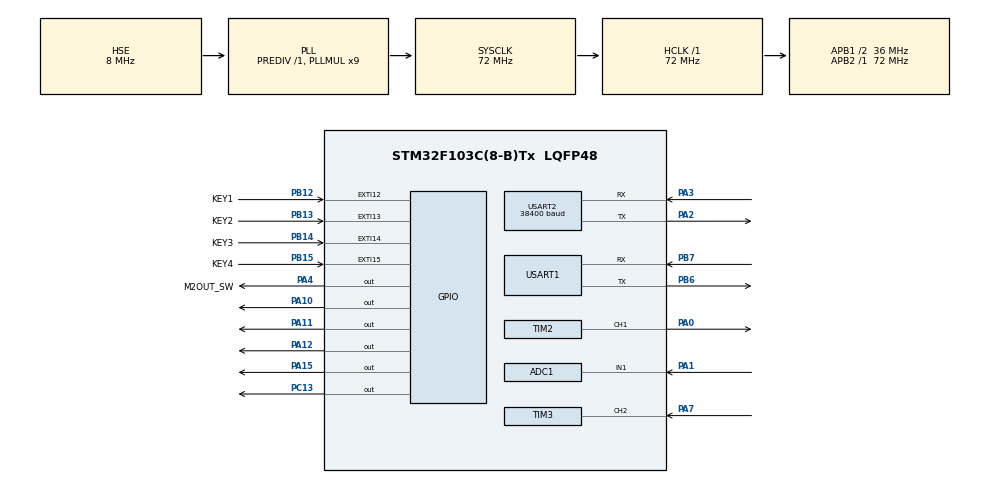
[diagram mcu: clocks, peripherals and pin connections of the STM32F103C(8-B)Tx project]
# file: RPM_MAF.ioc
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ADC1.Channel-0\#ChannelRegularConversion=ADC_CHANNEL_1
ADC1.NbrOfConversionFlag=1
ADC1.Rank-0\#ChannelRegularConversion=1
ADC1.SamplingTime-0\#ChannelRegularConversion=ADC_SAMPLETIME_1CYCLE_5
ADC1.master=1
Dma.Request0=USART2_RX
Dma.Request1=USART2_TX
Dma.USART2_RX.0.Direction=DMA_PERIPH_TO_MEMORY
Dma.USART2_RX.0.Instance=DMA1_Channel6
Dma.USART2_RX.0.MemDataAlignment=DMA_MDATAALIGN_BYTE
Dma.USART2_RX.0.MemInc=DMA_MINC_ENABLE
Dma.USART2_RX.0.Mode=DMA_CIRCULAR
Dma.USART2_RX.0.PeriphDataAlignment=DMA_PDATAALIGN_BYTE
Dma.USART2_RX.0.PeriphInc=DMA_PINC_DISABLE
Dma.USART2_RX.0.Priority=DMA_PRIORITY_LOW
Dma.USART2_TX.1.Direction=DMA_MEMORY_TO_PERIPH
Dma.USART2_TX.1.Instance=DMA1_Channel7
Dma.USART2_TX.1.MemDataAlignment=DMA_MDATAALIGN_BYTE
Dma.USART2_TX.1.MemInc=DMA_MINC_ENABLE
Dma.USART2_TX.1.Mode=DMA_NORMAL
Dma.USART2_TX.1.PeriphDataAlignment=DMA_PDATAALIGN_BYTE
Dma.USART2_TX.1.PeriphInc=DMA_PINC_DISABLE
Dma.USART2_TX.1.Priority=DMA_PRIORITY_LOW
Mcu.Family=STM32F1
Mcu.Name=STM32F103C(8-B)Tx
Mcu.Package=LQFP48
NVIC.DMA1_Channel6_IRQn=true\:0\:0\:false\:false\:true\:false\:true
NVIC.DMA1_Channel7_IRQn=true\:0\:0\:false\:false\:true\:false\:true
NVIC.EXTI15_10_IRQn=true\:0\:0\:false\:false\:true\:true\:true
NVIC.PriorityGroup=NVIC_PRIORITYGROUP_4
NVIC.TIM3_IRQn=true\:0\:0\:false\:false\:true\:true\:true
NVIC.USART2_IRQn=true\:0\:0\:false\:false\:true\:true\:true
PA0-WKUP.Signal=S_TIM2_CH1_ETR
PA1.Signal=ADCx_IN1
PA10.Signal=GPIO_Output
PA11.Signal=GPIO_Output
PA12.Signal=GPIO_Output
PA13.Mode=Serial_Wire
PA13.Signal=SYS_JTMS-SWDIO
PA14.Mode=Serial_Wire
PA14.Signal=SYS_JTCK-SWCLK
PA15.Signal=GPIO_Output
PA2.Mode=Asynchronous
PA2.Signal=USART2_TX
PA3.Mode=Asynchronous
PA3.Signal=USART2_RX
PA4.GPIO_Label=M2OUT_SW
PA4.Signal=GPIO_Output
PA7.GPIO_PuPd=GPIO_NOPULL
PA7.Signal=S_TIM3_CH2
PB12.GPIO_Label=KEY1
PB12.GPIO_ModeDefaultEXTI=GPIO_MODE_IT_FALLING
PB12.GPIO_PuPd=GPIO_PULLUP
PB12.Signal=GPXTI12
PB13.GPIO_Label=KEY2
PB13.GPIO_ModeDefaultEXTI=GPIO_MODE_IT_FALLING
PB13.GPIO_PuPd=GPIO_PULLUP
PB13.Signal=GPXTI13
PB14.GPIO_Label=KEY3
PB14.GPIO_ModeDefaultEXTI=GPIO_MODE_IT_FALLING
PB14.GPIO_PuPd=GPIO_PULLUP
PB14.Signal=GPXTI14
PB15.GPIO_Label=KEY4
PB15.Signal=GPXTI15
PB6.Mode=Asynchronous
PB6.Signal=USART1_TX
PB7.Mode=Asynchronous
PB7.Signal=USART1_RX
PC13-TAMPER-RTC.Signal=GPIO_Output
PD0-OSC_IN.Mode=HSE-External-Oscillator
PD0-OSC_IN.Signal=RCC_OSC_IN
PD1-OSC_OUT.Mode=HSE-External-Oscillator
PD1-OSC_OUT.Signal=RCC_OSC_OUT
ProjectManager.HeapSize=0x200
ProjectManager.StackSize=0x400
ProjectManager.TargetToolchain=MDK-ARM V5
RCC.ADCPresc=RCC_ADCPCLK2_DIV6
RCC.AHBFreq_Value=72000000
RCC.APB1CLKDivider=RCC_HCLK_DIV2
RCC.APB1Freq_Value=36000000
RCC.APB1TimFreq_Value=72000000
RCC.APB2Freq_Value=72000000
RCC.APB2TimFreq_Value=72000000
RCC.HCLKFreq_Value=72000000
RCC.PLLMUL=RCC_PLL_MUL9
RCC.PLLSourceVirtual=RCC_PLLSOURCE_HSE
RCC.SYSCLKFreq_VALUE=72000000
RCC.SYSCLKSource=RCC_SYSCLKSOURCE_PLLCLK
RCC.USBFreq_Value=72000000
SH.ADCx_IN1.0=ADC1_IN1,IN1
SH.S_TIM2_CH1_ETR.0=TIM2_CH1,PWM Generation1 CH1
SH.S_TIM3_CH2.0=TIM3_CH2,PWM_Input_2
TIM2.Channel-PWM\ Generation1\ CH1=TIM_CHANNEL_1
TIM2.ClockDivision=TIM_CLOCKDIVISION_DIV2
TIM2.Period=1000-1
TIM2.Prescaler=72-1
TIM3.ClockDivision=TIM_CLOCKDIVISION_DIV4
TIM3.Period=65535
TIM3.Prescaler=3600-1
TIM3.TIM_MasterOutputTrigger=TIM_TRGO_UPDATE
USART1.VirtualMode=VM_ASYNC
USART2.BaudRate=38400
USART2.VirtualMode=VM_ASYNC
VP_TIM2_VS_ClockSourceINT.Mode=Internal
VP_TIM3_VS_ClockSourceINT.Mode=Internal
board=custom

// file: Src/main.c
/* USER CODE BEGIN Header */
/**
  ******************************************************************************
  * @file           : main.c
  * @brief          : Main program body
  ******************************************************************************
  ** This notice applies to any and all portions of this file
  * that are not between comment pairs USER CODE BEGIN and
  * USER CODE END. Other portions of this file, whether
  * inserted by the user or by software development tools
  * are owned by their respective copyright owners.
  *
  * COPYRIGHT(c) 2019 STMicroelectronics
  *
  * Redistribution and use in source and binary forms, with or without modification,
  * are permitted provided that the following conditions are met:
  *   1. Redistributions of source code must retain the above copyright notice,
  *      this list of conditions and the following disclaimer.
  *   2. Redistributions in binary form must reproduce the above copyright notice,
  *      this list of conditions and the following disclaimer in the documentation
  *      and/or other materials provided with the distribution.
  *   3. Neither the name of STMicroelectronics nor the names of its contributors
  *      may be used to endorse or promote products derived from this software
  *      without specific prior written permission.
  *
  * THIS SOFTWARE IS PROVIDED BY THE COPYRIGHT HOLDERS AND CONTRIBUTORS "AS IS"
  * AND ANY EXPRESS OR IMPLIED WARRANTIES, INCLUDING, BUT NOT LIMITED TO, THE
  * IMPLIED WARRANTIES OF MERCHANTABILITY AND FITNESS FOR A PARTICULAR PURPOSE ARE
  * DISCLAIMED. IN NO EVENT SHALL THE COPYRIGHT HOLDER OR CONTRIBUTORS BE LIABLE
  * FOR ANY DIRECT, INDIRECT, INCIDENTAL, SPECIAL, EXEMPLARY, OR CONSEQUENTIAL
  * DAMAGES (INCLUDING, BUT NOT LIMITED TO, PROCUREMENT OF SUBSTITUTE GOODS OR
  * SERVICES; LOSS OF USE, DATA, OR PROFITS; OR BUSINESS INTERRUPTION) HOWEVER
  * CAUSED AND ON ANY THEORY OF LIABILITY, WHETHER IN CONTRACT, STRICT LIABILITY,
  * OR TORT (INCLUDING NEGLIGENCE OR OTHERWISE) ARISING IN ANY WAY OUT OF THE USE
  * OF THIS SOFTWARE, EVEN IF ADVISED OF THE POSSIBILITY OF SUCH DAMAGE.
  *
  ******************************************************************************
  */
/* USER CODE END Header */

#include "main.h"

/* USER CODE BEGIN Includes */

#define USE_OLED

#include <stdio.h>

#ifdef USE_OLED
#include "oled.h"
#endif

/* USER CODE END Includes */

/* USER CODE BEGIN PD */

extern uint8_t nonside[];

/* USER CODE END PD */

/* USER CODE BEGIN PM */

#if 0
#define ON_STAR_RPM 1200
#define ON_STAR_DUTY 500

#define LINEAR_STAR_RPM 1600
#define LINEAR_END_RPM 2500

#define LINEAR_STAT_DUTY 750
#define LINEAR_END_DUTY 1000
#endif

#if 0
#define ON_STAR_RPM 1200
#define ON_STAR_DUTY 100

#define LINEAR_STAR_RPM 2000
#define LINEAR_END_RPM 3000

#define LINEAR_STAT_DUTY 200
#define LINEAR_END_DUTY 1000
#endif

#if 1
// 20190512, 传感器rpm
// 启动（线性开始）1200，40%； 关1000，40%； 最高2500，100%

#define ON_STAR_RPM 1000
#define ON_STAR_DUTY 400

#define LINEAR_STAR_RPM 1200
#define LINEAR_END_RPM 2500

#define LINEAR_STAT_DUTY 400
#define LINEAR_END_DUTY 1000
#endif

//#define M2SW_ON_MAF  10
//#define M2SW_OFF_MAF 5

// 20190512， MAF 5-->8, 10-->12
//#define ON_STAR_MAF 5
#define ON_STAR_MAF 8
#define ON_STAR_MAF_DUTY 500

//#define LINEAR_STAR_MAF 10
#define LINEAR_STAR_MAF 12
#define LINEAR_END_MAF  25

#define LINEAR_STAT_MAF_DUTY 400
#define LINEAR_END_MAF_DUTY 1000

#define SYSTEM_ON_TEMP 80

/* USER CODE END PM */

ADC_HandleTypeDef hadc1;

TIM_HandleTypeDef htim2;
TIM_HandleTypeDef htim3;

UART_HandleTypeDef huart1;
UART_HandleTypeDef huart2;
DMA_HandleTypeDef hdma_usart2_rx;
DMA_HandleTypeDef hdma_usart2_tx;

/* USER CODE BEGIN PV */

uint32_t ddd;
uint32_t dd;
uint32_t d;
uint32_t rpm;
uint32_t rpm_old;

uint32_t sensor_rpm = 0;
uint32_t adc_rpm = 0;
uint32_t obd_rpm = 0;

uint32_t prescaler;
uint32_t period;
uint32_t pulse;
uint32_t clk_prescaler;

/*
double prescaler;
double period;
double pulse;
double clk_prescaler;
*/

uint32_t d1;
uint32_t d2;
uint32_t d3;

uint32_t enc_d;
uint16_t adc_d;
uint16_t m1_out_pwm_d;
uint8_t  m2_sw = 0;

//uint8_t ddd_ch[] = "123";
//uint8_t ss[20] = "123";
char ss[20] = "123";

/* USER CODE END PV */

void SystemClock_Config(void);
static void MX_GPIO_Init(void);
static void MX_DMA_Init(void);
static void MX_USART1_UART_Init(void);
static void MX_ADC1_Init(void);
static void MX_TIM2_Init(void);
static void MX_TIM3_Init(void);
static void MX_USART2_UART_Init(void);

/* USER CODE BEGIN 0 */

//----------------------------------------------------------------------------
// printf to uart
#ifdef __GNUC__
/* With GCC/RAISONANCE, small printf (option LD Linker->Libraries->Small printf
   set to 'Yes') calls __io_putchar() */
#define PUTCHAR_PROTOTYPE int __io_putchar(int ch)
#else
#define PUTCHAR_PROTOTYPE int fputc(int ch, FILE *f)
#endif /* __GNUC__ */

PUTCHAR_PROTOTYPE
{
  /* Place your implementation of fputc here */
  /* e.g. write a character to the USART1 and Loop until the end of transmission */
  HAL_UART_Transmit(&huart1, (uint8_t *)&ch, 1, 0xFFFF);
  return ch;
}
//------------------------------------------------------------------------------

#define H_OBD_UART huart2
//#define H_OBD_UART huart3

// for uart3, elm327
uint8_t aRx3Buffer[1];      //接收缓存
uint8_t aTx3Buffer[] = "*********SENDING DATA USING USART3 with DMA***********\r\n";

uint8_t cmd_atz[]  = "AT Z\r"; // reset
uint8_t cmd_ati[]  = "AT I\r";
uint8_t cmd_010c[] = "010C\r"; // rpm
uint8_t cmd_010d[] = "010D\r"; // speed
uint8_t cmd_0105[] = "0105\r"; // Engine coolant temperature
uint8_t cmd_0110[] = "0110\r"; // MAF
uint8_t cmd_atsp0[]  = "AT SP 0\r"; //
uint8_t cmd_015C[] = "015C\r"; // Engine oil temperature

uint16_t m_rpm = 0;
uint16_t m_maf = 0;
uint8_t m_speed = 0;  // 0 - 255 km/h
uint8_t m_EngineOilTemperature = 0;  // Engine oil temperature
uint8_t m_EngineCoolantTemperature = 0;

uint8_t state = 0;
uint8_t vout_state = 0;
uint8_t sw_state = 0;

void delay_ms(uint16_t ms)
{
	/*
	uint16_t i,j;

	for(i=0; i<ms; i++) //2000
	{
		for(j=0;j<1650; j++)
		{

		}
	}
	*/
	HAL_Delay(ms);
}

uint8_t key_d;

void HAL_GPIO_EXTI_Callback(uint16_t GPIO_Pin)
{
	if(GPIO_Pin == KEY1_Pin)
	{
		key_d = 1;
	}
	if(GPIO_Pin == KEY2_Pin)
	{
		key_d = 2;
	}
	if(GPIO_Pin == KEY3_Pin)
	{
		key_d = 3;
	}
	if(GPIO_Pin == KEY4_Pin)
	{
		key_d = 4;
	}
}

uint32_t duty = 0;
uint32_t freq = 0;

//volatile static uint32_t tmp1 = 0, tmp2 = 0;
uint32_t tmp1 = 0, tmp2 = 0;

void HAL_TIM_IC_CaptureCallback(TIM_HandleTypeDef *htim)
{
    //volatile static uint32_t tmp1 = 0, tmp2 = 0;

    if (htim->Channel == HAL_TIM_ACTIVE_CHANNEL_1)
    {
        tmp1 = HAL_TIM_ReadCapturedValue(&htim3, TIM_CHANNEL_1);//周期
    }
    else if (htim->Channel == HAL_TIM_ACTIVE_CHANNEL_2)
    {
        tmp2 = HAL_TIM_ReadCapturedValue(&htim3, TIM_CHANNEL_2);//占空比
    }
}

#define UART3_RX_BUFF_LEN 100
//#define UART3_RCV_SIZE 8

uint8_t uart3_rx_buff[UART3_RX_BUFF_LEN];
uint8_t cmd_buff[UART3_RX_BUFF_LEN];

uint8_t uart3_rx_index = 0;
uint8_t cmd_ok = 0;
void HAL_UART_RxCpltCallback(UART_HandleTypeDef *huart)
{
  /* Prevent unused argument(s) compilation warning */
  UNUSED(huart);
  /* NOTE: This function Should not be modified, when the callback is needed,
           the HAL_UART_RxCpltCallback could be implemented in the user file
   */

  //HAL_UART_Transmit_DMA(&huart3,aRx3Buffer,1); // DM2发送出去
	//HAL_UART_Receive_DMA(&huart3,aRx3Buffer,1); // 重新DMA接收

	//HAL_UART_Transmit_DMA(&H_OBD_UART,aRx3Buffer,1); // DM2发送出去
	//HAL_UART_Receive_DMA(&H_OBD_UART,aRx3Buffer,1); // 重新DMA接收

	// test
	//HAL_UART_Transmit(&huart1,aRx3Buffer, 1, 0xFFFF);

	uart3_rx_buff[uart3_rx_index] = aRx3Buffer[0];
	if( uart3_rx_index < UART3_RX_BUFF_LEN-1) uart3_rx_index++;
	else uart3_rx_index = 0;

	if(uart3_rx_buff[uart3_rx_index-1] == 0x0d && uart3_rx_buff[uart3_rx_index-2] == 0x0d && cmd_ok==0)
	{
		cmd_ok = 1;
		uart3_rx_index = 0;
		for(uint8_t i = 0; i<UART3_RX_BUFF_LEN; i++)
		{
			cmd_buff[i] = uart3_rx_buff[i];
			uart3_rx_buff[i] = 0x00;
		}
	}

}

//uint16_t hex2uint16(const char *p)
uint16_t hex2uint16(const uint8_t *p)
{
	char c = *p;
	uint16_t i = 0;
	for (uint8_t n = 0; c && n < 4; c = *(++p)) {
		if (c >= 'A' && c <= 'F') {
			c -= 7;
		} else if (c>='a' && c<='f') {
			c -= 39;
        } else if (c == ' ' && n == 2) {
            continue;
        } else if (c < '0' || c > '9') {
			break;
        }
		i = (i << 4) | (c & 0xF);
		n++;
	}
	return i;
}

//uint8_t hex2uint8(const char *p)
uint8_t hex2uint8(const uint8_t *p)
{
	uint8_t c1 = *p;
	uint8_t c2 = *(p + 1);
	if (c1 >= 'A' && c1 <= 'F')
		c1 -= 7;
	else if (c1 >='a' && c1 <= 'f')
	    c1 -= 39;
	else if (c1 < '0' || c1 > '9')
		return 0;

	if (c2 == 0)
		return (c1 & 0xf);
	else if (c2 >= 'A' && c2 <= 'F')
		c2 -= 7;
	else if (c2 >= 'a' && c2 <= 'f')
	    c2 -= 39;
	else if (c2 < '0' || c2 > '9')
		return 0;

	return c1 << 4 | (c2 & 0xf);
}

/* USER CODE END 0 */

int main(void)
{

  /* MCU Configuration--------------------------------------------------------*/

  /* Reset of all peripherals, Initializes the Flash interface and the Systick. */
  HAL_Init();

  /* USER CODE BEGIN Init */

	// GPIO
	HAL_GPIO_WritePin(M2OUT_SW_GPIO_Port, M2OUT_SW_Pin, GPIO_PIN_RESET);

	  ddd = 0;
		d = 0;
		rpm = 0;
	  rpm_old = 100;

		period = 1000-1;
		pulse = 100;
		prescaler = 60-1;

    d1 = 500;
		d2 = 1000;
		d3 = 3000;

  /* USER CODE END Init */

  /* Configure the system clock */
  SystemClock_Config();

  /* Initialize all configured peripherals */
  MX_GPIO_Init();
  MX_DMA_Init();
  MX_USART1_UART_Init();
  MX_ADC1_Init();
  MX_TIM2_Init();
  MX_TIM3_Init();
  MX_USART2_UART_Init();
  /* USER CODE BEGIN 2 */

  //HAL_Delay(1000); //1000ms

#ifdef USE_OLED
	delay_ms(10);
	LCD_Init();
	delay_ms(10);

	//line 1
	LCD_Print(2, 0, "WM Test",TYPE16X16,TYPE8X16);

	//line 2
	LCD_Print(2, 16, "Version 0.10",TYPE16X16,TYPE8X16);
	//sprintf(ss,"%s",__DATA_);
	//LCD_Print(2, 16, ss, TYPE16X16, TYPE8X16);

	// line 3
	//LCD_Print(2, 32,  "OBD MAF:",TYPE16X16,TYPE8X16);
	sprintf(ss,"%s",__DATE__);
	LCD_Print(2, 32, ss,TYPE16X16,TYPE8X16);

	// line 4
	//LCD_Print(2, 48,  "OBD EOT:",TYPE16X16,TYPE8X16);
	sprintf(ss,"%s",__TIME__);
	LCD_Print(2, 48, ss,TYPE16X16,TYPE8X16);

#endif

	printf("\n\r\n\rWM_RPM V0.1\n\r");
	printf("Build %s %s\n\r", __TIME__, __DATE__);

	uint32_t uid[3];
	HAL_GetUID(uid);

	printf("UID:");
	for(int8_t i = 0; i < 3; i++) {
		printf("%08X", uid[i]);
	}
	printf("\n\r");

/*
500rpm =500r/min = 500/60 Hz, === 8.333 Hz
300rpm = 300 r/min = 300/60 Hz === 5 Hz 4000?
600rpm = 600 r/min = 600/60 Hz === 10 Hz 2000?
1200rpm = 1200 r/min = 1200/60 Hz == 20 Hz   1000
1800rpm = 30 Hz  666.67?
2400rpm = 40 Hz  500?
3000rpm = 50 Hz   400
3600rpm = 60 Hz

(20000/tmp2)*60

*/

  // PWM output

	// m1_out_pwm_d
	// M1 out PWM, control the motor
	// TIM2:  Prescaler：72-1；CKD: Division by 2;  ==> 1kHz
	// Prescaler=720-1;Counter Period 2000-1 == 50Hz, read pwm ==400
	// Prescaler=720-1;Counter Period 5000-1 == 20Hz, read pwm ==1000
	// Prescaler=2880-1 and CounterPeriod=5000-1, read pwm = 4000
	m1_out_pwm_d = 0;

	//__HAL_TIM_SET_COMPARE(&htim2, TIM_CHANNEL_4, m1_out_pwm_d);
	//HAL_TIM_PWM_Start(&htim2,TIM_CHANNEL_4); //M1OUT_PWM

	__HAL_TIM_SET_COMPARE(&htim2, TIM_CHANNEL_1, m1_out_pwm_d);
	HAL_TIM_PWM_Start(&htim2,TIM_CHANNEL_1); //M1OUT_PWM

	// PWM output, use TIM3 for PWM sim.
	//HAL_TIM_PWM_Start(&htim3,TIM_CHANNEL_1);
	//HAL_TIM_PWM_Stop(&htim3,TIM_CHANNEL_1);

  // PWM input, use for get freq.
	// TIM3:
	// Prescaler 3600-1;
	// CKD: Division by 4;
	HAL_TIM_IC_Start_IT(&htim3, TIM_CHANNEL_1);
	HAL_TIM_IC_Start_IT(&htim3, TIM_CHANNEL_2);//
  //rpm_sensor = tmp2;

//__HAL_UART_ENABLE_IT(&huart3,UART_IT_IDLE);

		//HAL_UART_Receive_DMA(&huart3,aRx3Buffer,1);// 启动DMA接收
		//HAL_UART_Transmit_DMA(&huart3,aTx3Buffer,sizeof(aTx3Buffer));// DMA发送数据

		//HAL_UART_Receive_DMA(&huart3,aRx3Buffer,1);// 启动DMA接收
		HAL_UART_Receive_DMA(&H_OBD_UART,aRx3Buffer,1);// 启动DMA接收

		// init elm327
		// reset
		//HAL_UART_Transmit_DMA(&huart3,cmd_atz,sizeof(cmd_atz));// DMA发送数据
		HAL_UART_Transmit_DMA(&H_OBD_UART,cmd_atz,sizeof(cmd_atz));// DMA发送数据
		delay_ms(1000);

		// set protocal auto
		//HAL_UART_Transmit_DMA(&huart3,"AT SP 0\r", 8);
		//HAL_UART_Transmit_DMA(&huart3,cmd_atsp0,sizeof(cmd_atsp0));
		HAL_UART_Transmit_DMA(&H_OBD_UART,cmd_atsp0,sizeof(cmd_atsp0));
		delay_ms(2000);

  /* USER CODE END 2 */

  /* Infinite loop */
  /* USER CODE BEGIN WHILE */
  while (1)
  {
			//HAL_GPIO_TogglePin(GPIOC, GPIO_PIN_13);
			delay_ms(10);

			//----------------------------------------------------
			// get info from OBD
			//----------------------------------------------------
		  ddd++;
		  if(ddd>5)
			{
				ddd = 0;

				HAL_GPIO_TogglePin(GPIOC, GPIO_PIN_13);
				//HAL_GPIO_TogglePin(M2OUT_SW_GPIO_Port, M2OUT_SW_Pin);
				switch(state)
				{
					case 0:
						HAL_UART_Transmit_DMA(&H_OBD_UART,cmd_010c,sizeof(cmd_010c)); // rpm
					  //printf("[rpm]");
						state = 1;
						break;

					case 1:
						HAL_UART_Transmit_DMA(&H_OBD_UART,cmd_010d,sizeof(cmd_010d)); // speed
						state = 2;
						break;

					case 2:
						HAL_UART_Transmit_DMA(&H_OBD_UART,cmd_0110,sizeof(cmd_0110)); // MAF
						state = 3;
						break;

					case 3:
						HAL_UART_Transmit_DMA(&H_OBD_UART,cmd_0105,sizeof(cmd_0105));  // Engine Coolant Temperature
						state = 0;
						break;

					case 4:
						state = 0;
						break;

					case 5:
						state = 0;
						break;

					default:
						state = 0;
						break;
				}
				//----------------------------------------------------------------------
#if 1
					printf("[");
				for(uint8_t i = 0; i<UART3_RX_BUFF_LEN; i++)
				{
					if(cmd_buff[i]==0x0d) printf("_");
					else if(cmd_buff[i]==0x00) printf(".");
					else printf("%c",cmd_buff[i]);
				}
				printf("]");

				printf("m_rpm=%04d ",m_rpm);
				printf("m_speed=%04d ",m_speed);
				printf("m_maf=%04d ",m_maf);
				//printf("m_EngineOilTemperature=%04d ",m_EngineOilTemperature);
				printf("m_EngineCoolantTemperature=%04d ",m_EngineCoolantTemperature);
				printf("\r");
#endif
				//----------------------------------------------------------------------

			}

			//========================================================================
			if(cmd_ok==1)
			{
				cmd_ok = 0;

				//-----------------------------------------------------------------------------------------
				// test: info display
				//-----------------------------------------------------------------------------------------

		#if 0
				printf("cmd_ok: [");
				for(uint8_t i = 0; i<UART3_RX_BUFF_LEN; i++)
				{
					if(cmd_buff[i]==0x0d) printf("_");
					else if(cmd_buff[i]==0x00) printf(".");
					else printf("%c",cmd_buff[i]);
				}
				//printf("]\n\r");
				printf("]");
		#endif
				//-----------------------------------------------------------------------------------------
				// rpm: >010C.41_0C_1A_F8..
				//-----------------------------------------------------------------------------------------
				if(cmd_buff[0]=='>' && cmd_buff[1]=='0' && cmd_buff[2]=='1' && cmd_buff[3]=='0' && cmd_buff[4]=='C')
				{
					if(cmd_buff[6]=='4' && cmd_buff[7]=='1' && cmd_buff[9]=='0' && cmd_buff[10]=='C')
					{
						//cmd_buff[12],cmd_buff[13], __,  cmd_buff[15],cmd_buff[16],
						m_rpm = hex2uint16(&cmd_buff[12]);
						m_rpm >>= 2;
						//printf("m_rpm = %d\n\r",m_rpm);
					}
					else
					{
						m_rpm = 0;
						//printf("get rpm error\n\r");
					}
				}
				//-----------------------------------------------------------------------------------------
				// speed: >010D.41_0D_XX_XX..
				//-----------------------------------------------------------------------------------------
				if(cmd_buff[0]=='>' && cmd_buff[1]=='0' && cmd_buff[2]=='1' && cmd_buff[3]=='0' && cmd_buff[4]=='D')
				{
					if(cmd_buff[6]=='4' && cmd_buff[7]=='1' && cmd_buff[9]=='0' && cmd_buff[10]=='D')
					{
						//cmd_buff[12],cmd_buff[13], __,  cmd_buff[15],cmd_buff[16],
						m_speed = hex2uint8(&cmd_buff[12]);
						//printf("m_speed = %d\n\r",m_speed);
					}
					else
					{
						m_speed = 0;
						//printf("get speed error\n\r");
					}
				}
				//-----------------------------------------------------------------------------------------
				// MAF >0110.41_10_XX_XX..
				//-----------------------------------------------------------------------------------------
				if(cmd_buff[0]=='>' && cmd_buff[1]=='0' && cmd_buff[2]=='1' && cmd_buff[3]=='1' && cmd_buff[4]=='0')
				{
					if(cmd_buff[6]=='4' && cmd_buff[7]=='1' && cmd_buff[9]=='1' && cmd_buff[10]=='0')
					{
						//cmd_buff[12],cmd_buff[13], __,  cmd_buff[15],cmd_buff[16],
						m_maf = hex2uint16(&cmd_buff[12]);
						m_maf = m_maf / 100;
						//printf("m_maf = %d\n\r",m_maf);
					}
					else
					{
						m_maf = 0;
						//printf("get MAF error\n\r");
					}
				}
				//-----------------------------------------------------------------------------------------
				// EngineOilTemperature: >015C.41_5C_XX_XX..
				//-----------------------------------------------------------------------------------------
#if 0
				if(cmd_buff[0]=='>' && cmd_buff[1]=='0' && cmd_buff[2]=='1' && cmd_buff[3]=='5' && cmd_buff[4]=='C')
				{
					if(cmd_buff[6]=='4' && cmd_buff[7]=='1' && cmd_buff[9]=='5' && cmd_buff[10]=='C')
					{
						//cmd_buff[12],cmd_buff[13], __,  cmd_buff[15],cmd_buff[16],
						m_EngineOilTemperature = hex2uint8(&cmd_buff[12]) - 40;
						//printf("m_EngineOilTemperature = %d\n\r",m_EngineOilTemperature);
					}
					else
					{
						m_EngineOilTemperature = 0;
						//printf("get EngineOilTemperature error\n\r");
					}
				}
#endif
				//-----------------------------------------------------------------------------------------
				// EngineCoolantTemperature: >0105.41_05_XX_XX..
				//-----------------------------------------------------------------------------------------
				if(cmd_buff[0]=='>' && cmd_buff[1]=='0' && cmd_buff[2]=='1' && cmd_buff[3]=='0' && cmd_buff[4]=='5')
				{
					if(cmd_buff[6]=='4' && cmd_buff[7]=='1' && cmd_buff[9]=='0' && cmd_buff[10]=='5')
					{
						//cmd_buff[12],cmd_buff[13], __,  cmd_buff[15],cmd_buff[16],
						m_EngineCoolantTemperature = hex2uint8(&cmd_buff[12]) - 40;
						//printf("m_EngineCoolantTemperature = %d\n\r",m_EngineCoolantTemperature);
					}
					else
					{
						m_EngineCoolantTemperature = 0;
						//printf("get EngineCoolantTemperature error\n\r");
					}
				}
				//-----------------------------------------------------------------------------------------
	#if 0
				printf("m_rpm=%04d ",m_rpm);
				printf("m_speed=%04d ",m_speed);
				printf("m_maf=%04d ",m_maf);
				printf("m_EngineOilTemperature=%04d ",m_EngineOilTemperature);
				printf("m_EngineCoolantTemperature=%04d ",m_EngineCoolantTemperature);
				printf("\r");
	#endif
				//-----------------------------------------------------------------------------------------

				// clear
				for(uint8_t i = 0; i<UART3_RX_BUFF_LEN; i++)
				{
					cmd_buff[i] = 0x00;
				}

			}else {
				/*
				m_rpm = 0;
				m_speed = 0;
				m_maf = 0;
				m_EngineOilTemperature = 0;
				*/
			}
			//------------------------------------------------------------------------
	#if 0
					printf("[");
				for(uint8_t i = 0; i<UART3_RX_BUFF_LEN; i++)
				{
					if(cmd_buff[i]==0x0d) printf("_");
					else if(cmd_buff[i]==0x00) printf(".");
					else printf("%c",cmd_buff[i]);
				}
				printf("]");

				printf("m_rpm=%04d ",m_rpm);
				printf("m_speed=%04d ",m_speed);
				printf("m_maf=%04d ",m_maf);
				printf("m_EngineOilTemperature=%04d ",m_EngineOilTemperature);
				printf("m_EngineCoolantTemperature=%04d ",m_EngineCoolantTemperature);
				printf("\r");
#endif
			//========================================================================
			// calc rpm
			//========================================================================

			// rpm from sensor
			//sensor_rpm = (20000/tmp2)*60;
			sensor_rpm = (20000*60)/tmp2;

			// rpm from adc
			adc_rpm = adc_d * 0.9f;

			// rpm from OBD
			obd_rpm = m_rpm;

			//----------------------------------------------------------------------------------------
			// 调节电位器，使ADC大于0，强制进行测试模式输出。调节ADC等于0，按传感器或OBD数据进行输出。
			// OBD有数据，按OBD，无数据按传感器。

			if( obd_rpm > 10 ) rpm = obd_rpm;
			else{
				if(sensor_rpm > 10 ) rpm = sensor_rpm;
				else                 rpm = adc_rpm;
			}

	#if 1
			//---------------------------------------------------------------------------------------------
			// output
			// PWM by rpm
			//---------------------------------------------------------------------------------------------

			//-------------------------------------------------------------
			// M1 PWM
			//-------------------------------------------------------------
			// ON_STAR_RPM 启动，维持到LINEAR_STAR_RPM：ON_STAR_DUTY。
			// LINEAR_STAR_RPM开始到LINEAR_END_RPM线性：LINEAR_STAT_DUTY
			// LINEAR_END_RPM以上全开
			//
			switch(vout_state)
			{
				case 0:
					m1_out_pwm_d = 0;
					if(rpm > LINEAR_STAR_RPM ) vout_state = 2;
					break;
				case 1:
					m1_out_pwm_d = ON_STAR_DUTY;
					if( rpm > LINEAR_STAR_RPM ) vout_state = 2;
				  if( rpm < ON_STAR_RPM ) vout_state = 4;
					break;
				case 2:
					m1_out_pwm_d = (rpm-LINEAR_STAR_RPM)*(LINEAR_END_DUTY-LINEAR_STAT_DUTY)/(LINEAR_END_RPM-LINEAR_STAR_RPM) +LINEAR_STAT_DUTY;

					if(rpm > LINEAR_END_RPM ) vout_state = 3;
				  if(rpm < LINEAR_STAR_RPM ) vout_state = 1;
					break;
				case 3:
					m1_out_pwm_d = LINEAR_END_DUTY;
					if( rpm > LINEAR_STAR_RPM && rpm < LINEAR_END_RPM ) vout_state = 2;
				  if( rpm > ON_STAR_RPM     && rpm < LINEAR_STAR_RPM ) vout_state = 1;
				  if( rpm < ON_STAR_RPM ) vout_state = 1;
					break;
				case 4:
					m1_out_pwm_d = 0;
					if( rpm > LINEAR_STAR_RPM) vout_state = 2;
					break;
				default:
					vout_state = 0;
					break;

			}
			// output PWM

	#if 1
			//__HAL_TIM_SET_COMPARE(&htim2, TIM_CHANNEL_4, m1_out_pwm_d);
			//__HAL_TIM_SET_COMPARE(&htim2, TIM_CHANNEL_1, m1_out_pwm_d);

	#else // test
			dd+=10;
		  if(dd>999)
			{
				dd = 0;
				//obd_rpm += 100;
				//if(obd_rpm > 5000 ) obd_rpm = 0;

			}
				__HAL_TIM_SET_COMPARE(&htim2, TIM_CHANNEL_1, dd);
	#endif

	#endif

#if 0
			//---------------------------------------------------------------------------------------------
			// output
			// PWM by MAF
			//---------------------------------------------------------------------------------------------

			//-------------------------------------------------------------
			// M1 PWM
			//-------------------------------------------------------------
			// ON_STAR_RPM 启动，维持到LINEAR_STAR_RPM：ON_STAR_DUTY。
			// LINEAR_STAR_RPM开始到LINEAR_END_RPM线性：LINEAR_STAT_DUTY
			// LINEAR_END_RPM以上全开
			//
			switch(vout_state)
			{
				case 0:
					m1_out_pwm_d = 0;
					if(m_maf > LINEAR_STAR_MAF ) vout_state = 2;
					break;
				case 1:
					m1_out_pwm_d = ON_STAR_MAF_DUTY;
					if( m_maf > LINEAR_STAR_MAF ) vout_state = 2;
				  if( m_maf < ON_STAR_MAF ) vout_state = 4;
					break;
				case 2:
					m1_out_pwm_d = (m_maf-LINEAR_STAR_MAF)*(LINEAR_END_MAF_DUTY-LINEAR_STAT_MAF_DUTY)/(LINEAR_END_MAF-LINEAR_STAR_MAF) +LINEAR_STAT_MAF_DUTY;

					if(m_maf > LINEAR_END_MAF ) vout_state = 3;
				  if(m_maf < LINEAR_STAR_MAF ) vout_state = 1;
					break;
				case 3:
					m1_out_pwm_d = LINEAR_END_MAF_DUTY;
					if( m_maf > LINEAR_STAR_MAF && m_maf < LINEAR_END_MAF ) vout_state = 2;
				  if( m_maf > ON_STAR_MAF     && m_maf < LINEAR_STAR_MAF ) vout_state = 1;
				  if( m_maf < ON_STAR_MAF ) vout_state = 1;
					break;
				case 4:
					m1_out_pwm_d = 0;
					if( m_maf > LINEAR_STAR_MAF) vout_state = 2;
					break;
				default:
					vout_state = 0;
					break;

			}
			// output PWM

			//__HAL_TIM_SET_COMPARE(&htim2, TIM_CHANNEL_1, m1_out_pwm_d);

	#endif

#if 0
			//-------------------------------------------------------------
			// M2 SW
			//-------------------------------------------------------------
			switch(sw_state)
			{
				case 0:
					m2_sw = 0;
					if(m_maf >= M2SW_ON_MAF ) sw_state = 2;
					break;

				case 1:
					m2_sw = 1;
					if( m_maf >= M2SW_ON_MAF ) sw_state = 2;
				  if( m_maf < M2SW_OFF_MAF ) sw_state = 0;
					break;

				case 2:
					m2_sw = 1;
				  if( m_maf < M2SW_ON_MAF ) sw_state = 1;
				  if( m_maf < M2SW_OFF_MAF ) sw_state = 0;
					break;

				default:
					m2_sw = 0;
					break;
			}
#endif

#if 0
			if(m2_sw>0){
				HAL_GPIO_WritePin(M2OUT_SW_GPIO_Port, M2OUT_SW_Pin, GPIO_PIN_SET);
				//__HAL_TIM_SET_COMPARE(&htim2, TIM_CHANNEL_1, 900);
				__HAL_TIM_SET_COMPARE(&htim2, TIM_CHANNEL_1, m_maf*60);
			}else{
				HAL_GPIO_WritePin(M2OUT_SW_GPIO_Port, M2OUT_SW_Pin, GPIO_PIN_RESET);
				//__HAL_TIM_SET_COMPARE(&htim2, TIM_CHANNEL_1, m_maf*100);
				__HAL_TIM_SET_COMPARE(&htim2, TIM_CHANNEL_1, 0);
			}
#endif

//-----------------------------------------------------------------------------------------------------
// 20190512
#if 0
			if(m1_out_pwm_d>0 && m_EngineCoolantTemperature > SYSTEM_ON_TEMP) {
					__HAL_TIM_SET_COMPARE(&htim2, TIM_CHANNEL_1, m1_out_pwm_d);
					HAL_GPIO_WritePin(M2OUT_SW_GPIO_Port, M2OUT_SW_Pin, GPIO_PIN_SET);
			}
			else
			{
					__HAL_TIM_SET_COMPARE(&htim2, TIM_CHANNEL_1, 0);
					HAL_GPIO_WritePin(M2OUT_SW_GPIO_Port, M2OUT_SW_Pin, GPIO_PIN_RESET);

			}
#endif
			if(m1_out_pwm_d>0 ) {
					__HAL_TIM_SET_COMPARE(&htim2, TIM_CHANNEL_1, m1_out_pwm_d);  // 电机
					HAL_GPIO_WritePin(M2OUT_SW_GPIO_Port, M2OUT_SW_Pin, GPIO_PIN_SET); // 电磁阀
			}
			else
			{
					__HAL_TIM_SET_COMPARE(&htim2, TIM_CHANNEL_1, 0); // 电机
					HAL_GPIO_WritePin(M2OUT_SW_GPIO_Port, M2OUT_SW_Pin, GPIO_PIN_RESET); // 电磁阀

			}
//-----------------------------------------------------------------------------------------------------

#if 0
			//---------------------------------------------------------------------------------------------
			// EC11 旋转编码器
			//---------------------------------------------------------------------------------------------
		  enc_d = (uint32_t)(__HAL_TIM_GET_COUNTER(&htim4));//获取定时器的值
#endif

#if 1
			//---------------------------------------------------------------------------------------------
			// ADC
			//---------------------------------------------------------------------------------------------
			HAL_ADC_Start(&hadc1);
			HAL_ADC_PollForConversion(&hadc1,50);

			if(HAL_IS_BIT_SET(HAL_ADC_GetState(&hadc1), HAL_ADC_STATE_REG_EOC))
			{
						adc_d = HAL_ADC_GetValue(&hadc1);
						//printf("PA1 Voltage : %.4f \r\n",adc_d*3.3f/4096);
			}
#else
			adc_d = 0;
#endif

			//---------------------------------------------------------------------------------------------
			// OLED
			//---------------------------------------------------------------------------------------------

#ifdef USE_OLED
			//line 1
			LCD_Print(2, 0, "ADC rpm:",TYPE16X16,TYPE8X16);
			d = adc_rpm; //rpm;
			sprintf(ss,"%6d",d);
			LCD_Print(64, 0, ss,TYPE16X16,TYPE8X16);

			//line 2
			LCD_Print(2, 16, "OBD rpm:",TYPE16X16,TYPE8X16);
			//LCD_Print(2, 24, "总线:",TYPE16X16,TYPE8X16);
			d = m_rpm;//tmp1;//freq;//period;
			sprintf(ss,"%6d",d);
			LCD_Print(64, 16, ss, TYPE16X16, TYPE8X16);
			//LCD_Print(64, 24, ss, TYPE16X16, TYPE8X16);

			// line 3
			LCD_Print(2, 32,  "OBD MAF:",TYPE16X16,TYPE8X16);
			d = m_maf;
			sprintf(ss,"%6d",d);
			LCD_Print(64, 32, ss,TYPE16X16,TYPE8X16);

			// line 4
			//LCD_Print(2, 48,  "M DUTY:",TYPE16X16,TYPE8X16);
			LCD_Print(2, 48,  "SNR rpm:",TYPE16X16,TYPE8X16);
			//d = m1_out_pwm_d;
			d = sensor_rpm;
			sprintf(ss,"%6d",d);
			LCD_Print(64, 48, ss,TYPE16X16,TYPE8X16);

#endif

		//=========================================================================================================================

    /* USER CODE END WHILE */

  }
}

void SystemClock_Config(void)
{
  RCC_OscInitTypeDef RCC_OscInitStruct = {0};
  RCC_ClkInitTypeDef RCC_ClkInitStruct = {0};
  RCC_PeriphCLKInitTypeDef PeriphClkInit = {0};

  /** Initializes the CPU, AHB and APB busses clocks
  */
  RCC_OscInitStruct.OscillatorType = RCC_OSCILLATORTYPE_HSE;
  RCC_OscInitStruct.HSEState = RCC_HSE_ON;
  RCC_OscInitStruct.HSEPredivValue = RCC_HSE_PREDIV_DIV1;
  RCC_OscInitStruct.HSIState = RCC_HSI_ON;
  RCC_OscInitStruct.PLL.PLLState = RCC_PLL_ON;
  RCC_OscInitStruct.PLL.PLLSource = RCC_PLLSOURCE_HSE;
  RCC_OscInitStruct.PLL.PLLMUL = RCC_PLL_MUL9;
  if (HAL_RCC_OscConfig(&RCC_OscInitStruct) != HAL_OK)
  {
    Error_Handler();
  }
  /** Initializes the CPU, AHB and APB busses clocks
  */
  RCC_ClkInitStruct.ClockType = RCC_CLOCKTYPE_HCLK|RCC_CLOCKTYPE_SYSCLK
                              |RCC_CLOCKTYPE_PCLK1|RCC_CLOCKTYPE_PCLK2;
  RCC_ClkInitStruct.SYSCLKSource = RCC_SYSCLKSOURCE_PLLCLK;
  RCC_ClkInitStruct.AHBCLKDivider = RCC_SYSCLK_DIV1;
  RCC_ClkInitStruct.APB1CLKDivider = RCC_HCLK_DIV2;
  RCC_ClkInitStruct.APB2CLKDivider = RCC_HCLK_DIV1;

  if (HAL_RCC_ClockConfig(&RCC_ClkInitStruct, FLASH_LATENCY_2) != HAL_OK)
  {
    Error_Handler();
  }
  PeriphClkInit.PeriphClockSelection = RCC_PERIPHCLK_ADC;
  PeriphClkInit.AdcClockSelection = RCC_ADCPCLK2_DIV6;
  if (HAL_RCCEx_PeriphCLKConfig(&PeriphClkInit) != HAL_OK)
  {
    Error_Handler();
  }
}

static void MX_ADC1_Init(void)
{

  ADC_ChannelConfTypeDef sConfig = {0};

  /** Common config
  */
  hadc1.Instance = ADC1;
  hadc1.Init.ScanConvMode = ADC_SCAN_DISABLE;
  hadc1.Init.ContinuousConvMode = DISABLE;
  hadc1.Init.DiscontinuousConvMode = DISABLE;
  hadc1.Init.ExternalTrigConv = ADC_SOFTWARE_START;
  hadc1.Init.DataAlign = ADC_DATAALIGN_RIGHT;
  hadc1.Init.NbrOfConversion = 1;
  if (HAL_ADC_Init(&hadc1) != HAL_OK)
  {
    Error_Handler();
  }
  /** Configure Regular Channel
  */
  sConfig.Channel = ADC_CHANNEL_1;
  sConfig.Rank = ADC_REGULAR_RANK_1;
  sConfig.SamplingTime = ADC_SAMPLETIME_1CYCLE_5;
  if (HAL_ADC_ConfigChannel(&hadc1, &sConfig) != HAL_OK)
  {
    Error_Handler();
  }

}

static void MX_TIM2_Init(void)
{

  TIM_ClockConfigTypeDef sClockSourceConfig = {0};
  TIM_MasterConfigTypeDef sMasterConfig = {0};
  TIM_OC_InitTypeDef sConfigOC = {0};

  htim2.Instance = TIM2;
  htim2.Init.Prescaler = 72-1;
  htim2.Init.CounterMode = TIM_COUNTERMODE_UP;
  htim2.Init.Period = 1000-1;
  htim2.Init.ClockDivision = TIM_CLOCKDIVISION_DIV2;
  htim2.Init.AutoReloadPreload = TIM_AUTORELOAD_PRELOAD_DISABLE;
  if (HAL_TIM_Base_Init(&htim2) != HAL_OK)
  {
    Error_Handler();
  }
  sClockSourceConfig.ClockSource = TIM_CLOCKSOURCE_INTERNAL;
  if (HAL_TIM_ConfigClockSource(&htim2, &sClockSourceConfig) != HAL_OK)
  {
    Error_Handler();
  }
  if (HAL_TIM_PWM_Init(&htim2) != HAL_OK)
  {
    Error_Handler();
  }
  sMasterConfig.MasterOutputTrigger = TIM_TRGO_RESET;
  sMasterConfig.MasterSlaveMode = TIM_MASTERSLAVEMODE_DISABLE;
  if (HAL_TIMEx_MasterConfigSynchronization(&htim2, &sMasterConfig) != HAL_OK)
  {
    Error_Handler();
  }
  sConfigOC.OCMode = TIM_OCMODE_PWM1;
  sConfigOC.Pulse = 0;
  sConfigOC.OCPolarity = TIM_OCPOLARITY_HIGH;
  sConfigOC.OCFastMode = TIM_OCFAST_DISABLE;
  if (HAL_TIM_PWM_ConfigChannel(&htim2, &sConfigOC, TIM_CHANNEL_1) != HAL_OK)
  {
    Error_Handler();
  }
  HAL_TIM_MspPostInit(&htim2);

}

static void MX_TIM3_Init(void)
{

  TIM_ClockConfigTypeDef sClockSourceConfig = {0};
  TIM_SlaveConfigTypeDef sSlaveConfig = {0};
  TIM_IC_InitTypeDef sConfigIC = {0};
  TIM_MasterConfigTypeDef sMasterConfig = {0};

  htim3.Instance = TIM3;
  htim3.Init.Prescaler = 3600-1;
  htim3.Init.CounterMode = TIM_COUNTERMODE_UP;
  htim3.Init.Period = 65535;
  htim3.Init.ClockDivision = TIM_CLOCKDIVISION_DIV4;
  htim3.Init.AutoReloadPreload = TIM_AUTORELOAD_PRELOAD_DISABLE;
  if (HAL_TIM_Base_Init(&htim3) != HAL_OK)
  {
    Error_Handler();
  }
  sClockSourceConfig.ClockSource = TIM_CLOCKSOURCE_INTERNAL;
  if (HAL_TIM_ConfigClockSource(&htim3, &sClockSourceConfig) != HAL_OK)
  {
    Error_Handler();
  }
  if (HAL_TIM_IC_Init(&htim3) != HAL_OK)
  {
    Error_Handler();
  }
  sSlaveConfig.SlaveMode = TIM_SLAVEMODE_RESET;
  sSlaveConfig.InputTrigger = TIM_TS_TI2FP2;
  sSlaveConfig.TriggerPolarity = TIM_INPUTCHANNELPOLARITY_FALLING;
  sSlaveConfig.TriggerPrescaler = TIM_ICPSC_DIV1;
  sSlaveConfig.TriggerFilter = 0;
  if (HAL_TIM_SlaveConfigSynchronization(&htim3, &sSlaveConfig) != HAL_OK)
  {
    Error_Handler();
  }
  sConfigIC.ICPolarity = TIM_INPUTCHANNELPOLARITY_RISING;
  sConfigIC.ICSelection = TIM_ICSELECTION_INDIRECTTI;
  sConfigIC.ICPrescaler = TIM_ICPSC_DIV1;
  sConfigIC.ICFilter = 0;
  if (HAL_TIM_IC_ConfigChannel(&htim3, &sConfigIC, TIM_CHANNEL_1) != HAL_OK)
  {
    Error_Handler();
  }
  sConfigIC.ICPolarity = TIM_INPUTCHANNELPOLARITY_FALLING;
  sConfigIC.ICSelection = TIM_ICSELECTION_DIRECTTI;
  if (HAL_TIM_IC_ConfigChannel(&htim3, &sConfigIC, TIM_CHANNEL_2) != HAL_OK)
  {
    Error_Handler();
  }
  sMasterConfig.MasterOutputTrigger = TIM_TRGO_UPDATE;
  sMasterConfig.MasterSlaveMode = TIM_MASTERSLAVEMODE_DISABLE;
  if (HAL_TIMEx_MasterConfigSynchronization(&htim3, &sMasterConfig) != HAL_OK)
  {
    Error_Handler();
  }

}

static void MX_USART1_UART_Init(void)
{

  huart1.Instance = USART1;
  huart1.Init.BaudRate = 115200;
  huart1.Init.WordLength = UART_WORDLENGTH_8B;
  huart1.Init.StopBits = UART_STOPBITS_1;
  huart1.Init.Parity = UART_PARITY_NONE;
  huart1.Init.Mode = UART_MODE_TX_RX;
  huart1.Init.HwFlowCtl = UART_HWCONTROL_NONE;
  huart1.Init.OverSampling = UART_OVERSAMPLING_16;
  if (HAL_UART_Init(&huart1) != HAL_OK)
  {
    Error_Handler();
  }

}

static void MX_USART2_UART_Init(void)
{

  huart2.Instance = USART2;
  huart2.Init.BaudRate = 38400;
  huart2.Init.WordLength = UART_WORDLENGTH_8B;
  huart2.Init.StopBits = UART_STOPBITS_1;
  huart2.Init.Parity = UART_PARITY_NONE;
  huart2.Init.Mode = UART_MODE_TX_RX;
  huart2.Init.HwFlowCtl = UART_HWCONTROL_NONE;
  huart2.Init.OverSampling = UART_OVERSAMPLING_16;
  if (HAL_UART_Init(&huart2) != HAL_OK)
  {
    Error_Handler();
  }

}

static void MX_DMA_Init(void)
{
  /* DMA controller clock enable */
  __HAL_RCC_DMA1_CLK_ENABLE();

  /* DMA interrupt init */
  /* DMA1_Channel6_IRQn interrupt configuration */
  HAL_NVIC_SetPriority(DMA1_Channel6_IRQn, 0, 0);
  HAL_NVIC_EnableIRQ(DMA1_Channel6_IRQn);
  /* DMA1_Channel7_IRQn interrupt configuration */
  HAL_NVIC_SetPriority(DMA1_Channel7_IRQn, 0, 0);
  HAL_NVIC_EnableIRQ(DMA1_Channel7_IRQn);

}

static void MX_GPIO_Init(void)
{
  GPIO_InitTypeDef GPIO_InitStruct = {0};

  /* GPIO Ports Clock Enable */
  __HAL_RCC_GPIOC_CLK_ENABLE();
  __HAL_RCC_GPIOD_CLK_ENABLE();
  __HAL_RCC_GPIOA_CLK_ENABLE();
  __HAL_RCC_GPIOB_CLK_ENABLE();

  /*Configure GPIO pin Output Level */
  HAL_GPIO_WritePin(GPIOC, GPIO_PIN_13, GPIO_PIN_RESET);

  /*Configure GPIO pin Output Level */
  HAL_GPIO_WritePin(GPIOA, M2OUT_SW_Pin|GPIO_PIN_10|GPIO_PIN_11|GPIO_PIN_12
                          |GPIO_PIN_15, GPIO_PIN_RESET);

  /*Configure GPIO pin : PC13 */
  GPIO_InitStruct.Pin = GPIO_PIN_13;
  GPIO_InitStruct.Mode = GPIO_MODE_OUTPUT_PP;
  GPIO_InitStruct.Pull = GPIO_NOPULL;
  GPIO_InitStruct.Speed = GPIO_SPEED_FREQ_LOW;
  HAL_GPIO_Init(GPIOC, &GPIO_InitStruct);

  /*Configure GPIO pins : M2OUT_SW_Pin PA10 PA11 PA12
                           PA15 */
  GPIO_InitStruct.Pin = M2OUT_SW_Pin|GPIO_PIN_10|GPIO_PIN_11|GPIO_PIN_12
                          |GPIO_PIN_15;
  GPIO_InitStruct.Mode = GPIO_MODE_OUTPUT_PP;
  GPIO_InitStruct.Pull = GPIO_NOPULL;
  GPIO_InitStruct.Speed = GPIO_SPEED_FREQ_LOW;
  HAL_GPIO_Init(GPIOA, &GPIO_InitStruct);

  /*Configure GPIO pins : KEY1_Pin KEY2_Pin KEY3_Pin */
  GPIO_InitStruct.Pin = KEY1_Pin|KEY2_Pin|KEY3_Pin;
  GPIO_InitStruct.Mode = GPIO_MODE_IT_FALLING;
  GPIO_InitStruct.Pull = GPIO_PULLUP;
  HAL_GPIO_Init(GPIOB, &GPIO_InitStruct);

  /*Configure GPIO pin : KEY4_Pin */
  GPIO_InitStruct.Pin = KEY4_Pin;
  GPIO_InitStruct.Mode = GPIO_MODE_IT_RISING;
  GPIO_InitStruct.Pull = GPIO_NOPULL;
  HAL_GPIO_Init(KEY4_GPIO_Port, &GPIO_InitStruct);

  /* EXTI interrupt init*/
  HAL_NVIC_SetPriority(EXTI15_10_IRQn, 0, 0);
  HAL_NVIC_EnableIRQ(EXTI15_10_IRQn);

}

void Error_Handler(void)
{
}

/************************ (C) COPYRIGHT STMicroelectronics *****END OF FILE****/
